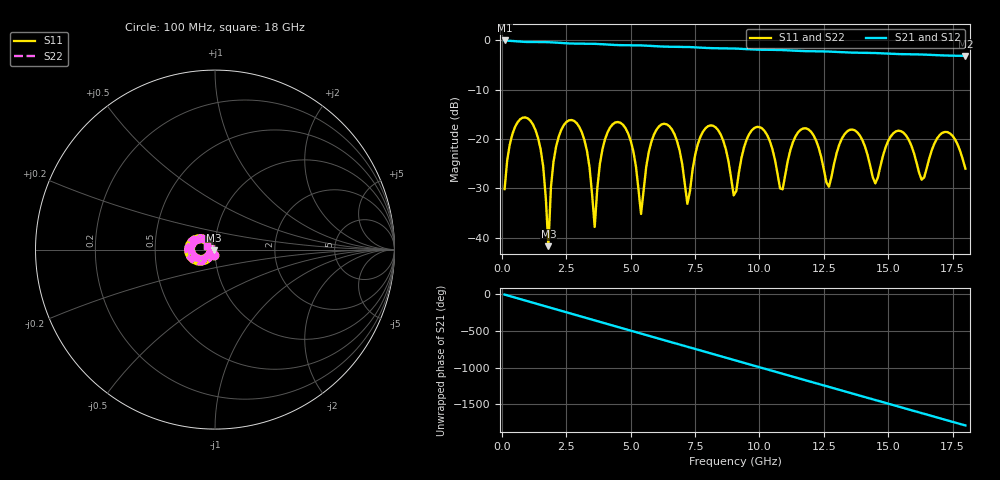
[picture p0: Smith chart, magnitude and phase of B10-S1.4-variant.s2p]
! yapnr rf coupon B: B10 S1.4 (variant, family S1.4)
! stackup JLC06161H-2116C, nominal parameters; reference planes 10 mm from each end; 50 ohm (renormalized from the line's Zc)
! model: 2D quasi-static RLGC (Djordjevic-Sarkar, Huray roughness, Wheeler loss); generated by python -m yapnr.rf.coupons expected
# GHz S DB R 50
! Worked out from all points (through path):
!   180 points, 100 MHz to 18 GHz, reference 50 ohm
!   highest |S21| = -0.04 dB at 100 MHz (marker M1); lowest = -3.2 dB at 18 GHz (marker M2)
!   group delay of S21, straight-line fit = 275 ps
!   lowest |S11| = -41.7 dB at 1.8 GHz (marker M3), VSWR 1.02, Z = 49.3 - j0.349 ohm
!   |S11| at or under -10 dB: start of sweep to end of sweep
!   |S22| runs from -41.7 to -15.6 dB; largest |S21 - S12| = 0
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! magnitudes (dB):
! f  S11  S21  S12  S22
! 100 MHz  -30.1  0.0  0.0  -30.1
! 1.1 GHz  -16.3  -0.4  -0.4  -16.3
! 1.6 GHz  -25.6  -0.4  -0.4  -25.6
! 1.8 GHz  -41.7  -0.4  -0.4  -41.7
! 2.2 GHz  -19.5  -0.5  -0.5  -19.5
! 3.1 GHz  -18.6  -0.7  -0.7  -18.6
! 3.6 GHz  -37.8  -0.7  -0.7  -37.8
! 4.2 GHz  -17.6  -0.9  -0.9  -17.6
! 4.9 GHz  -18.9  -1.0  -1.0  -18.9
! 5.4 GHz  -35.2  -1.0  -1.0  -35.2
! 6.1 GHz  -17.4  -1.2  -1.2  -17.4
! 7.2 GHz  -33.1  -1.4  -1.4  -33.1
! 8.1 GHz  -17.2  -1.6  -1.6  -17.2
! 9.1 GHz  -30.5  -1.7  -1.7  -30.5
! 9.8 GHz  -17.8  -1.9  -1.9  -17.8
! 10.9 GHz  -30.2  -2.0  -2.0  -30.2
! 12.1 GHz  -19.2  -2.2  -2.2  -19.2
! 12.7 GHz  -29.6  -2.3  -2.3  -29.6
! 13.4 GHz  -18.5  -2.5  -2.5  -18.5
! 14.5 GHz  -29.0  -2.6  -2.6  -29.0
! 15.1 GHz  -19.5  -2.7  -2.7  -19.5
! 18 GHz  -26.0  -3.2  -3.2  -26.0
